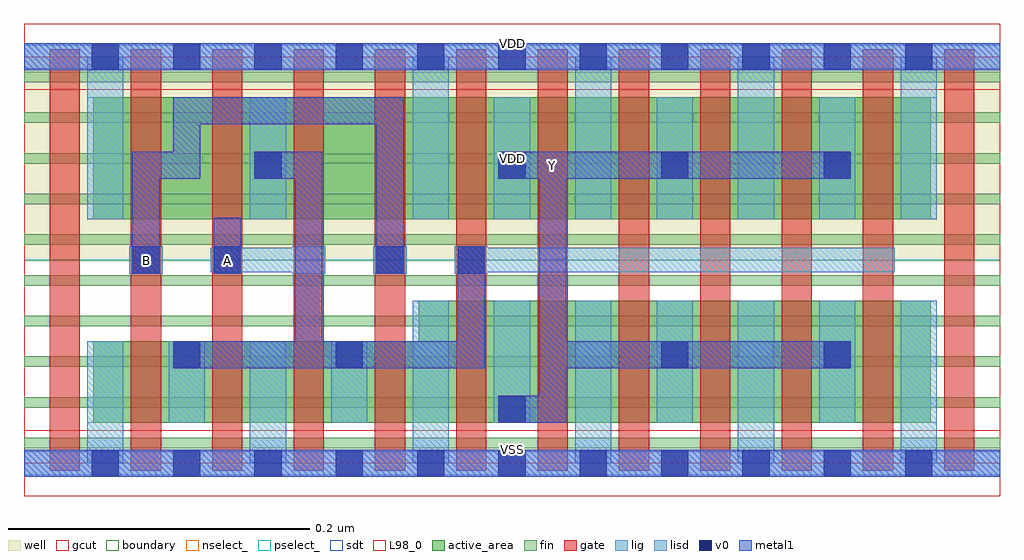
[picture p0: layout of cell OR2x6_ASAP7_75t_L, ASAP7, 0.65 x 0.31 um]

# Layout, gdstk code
import gdstk
lib = gdstk.Library(unit=1e-6, precision=2.5e-10)
def R(c, l, rs):  # rectangles x0, y0, x1, y1
    for r in rs: c.add(gdstk.rectangle(r[:2], r[2:], *l))
def A(c, l, x, y, w, h, nx, ny, dx, dy):  # array of equal rectangles
    R(c, l, [(x+i*dx, y+j*dy, x+i*dx+w, y+j*dy+h) for i in range(nx) for j in range(ny)])
def P(c, l, *ps):  # polygons
    for p in ps: c.add(gdstk.Polygon(p, *l))
well = (1, 0)
fin = (2, 0)
gate = (7, 0)
gcut = (10, 0)
active_area = (11, 0)
nselect_ = (12, 0)
pselect_ = (13, 0)
lig = (16, 0)
lisd = (17, 0)
v0 = (18, 0)
metal1 = (19, 0)
sdt = (88, 0)
L98_0 = (98, 0)
boundary = (100, 0)

or2x6_asap7_75t_l = lib.new_cell('OR2x6_ASAP7_75t_L')
R(or2x6_asap7_75t_l, well, [(0,0.135,0.648,0.27)])
A(or2x6_asap7_75t_l, fin, 0, 0.01, 0.648, 0.007, 1, 10, 0, 0.027)
A(or2x6_asap7_75t_l, gate, 0.017, -0.005, 0.02, 0.28, 12, 1, 0.054, 0)
R(or2x6_asap7_75t_l, gcut, [(0,-0.022,0.648,0.022), (0,0.248,0.648,0.292)])
R(or2x6_asap7_75t_l, active_area, [(0.046,0.162,0.602,0.243)])
P(or2x6_asap7_75t_l, active_area, [(0.262,0.081),(0.046,0.081),(0.046,0.027),(0.602,0.027),(0.602,0.108),(0.262,0.108)])
R(or2x6_asap7_75t_l, nselect_, [(0,0,0.648,0.135)])
R(or2x6_asap7_75t_l, pselect_, [(0,0.135,0.648,0.27)])
A(or2x6_asap7_75t_l, lig, 0.178, 0.126, 0.022, 0.018, 3, 1, 0.054, 0)
R(or2x6_asap7_75t_l, lig, [(0,-0.008,0.648,0.008), (0.07,0.126,0.092,0.144), (0.124,0.127,0.2,0.143), (0.286,0.127,0.578,0.143), (0,0.262,0.648,0.278)])
A(or2x6_asap7_75t_l, lisd, 0.312, 0.027, 0.024, 0.081, 3, 2, 0.108, 0.135)
R(or2x6_asap7_75t_l, lisd, [(0.042,0,0.066,0.081), (0.042,0,0.066,0.081), (0.15,0,0.174,0.081), (0.15,0,0.174,0.081), (0.258,0,0.282,0.108), (0.258,0,0.282,0.108), (0.366,0,0.39,0.108), (0.366,0,0.39,0.108), (0.474,0,0.498,0.108), (0.474,0,0.498,0.108), (0.582,0,0.606,0.108), (0.582,0,0.606,0.108), (0.096,0.027,0.12,0.081), (0.204,0.027,0.228,0.081), (0.042,0.162,0.066,0.27), (0.042,0.162,0.066,0.27), (0.15,0.162,0.174,0.243), (0.258,0.162,0.282,0.27), (0.258,0.162,0.282,0.27), (0.366,0.162,0.39,0.27), (0.366,0.162,0.39,0.27), (0.474,0.162,0.498,0.27), (0.474,0.162,0.498,0.27), (0.582,0.162,0.606,0.27), (0.582,0.162,0.606,0.27)])
A(or2x6_asap7_75t_l, v0, 0.045, -0.009, 0.018, 0.018, 11, 2, 0.054, 0.27)
A(or2x6_asap7_75t_l, v0, 0.315, 0.189, 0.018, 0.018, 3, 1, 0.108, 0)
R(or2x6_asap7_75t_l, v0, [(0.315,0.027,0.333,0.045), (0.099,0.063,0.117,0.081), (0.207,0.063,0.225,0.081), (0.423,0.063,0.441,0.081), (0.531,0.063,0.549,0.081), (0.072,0.126,0.09,0.144), (0.126,0.126,0.144,0.144), (0.234,0.126,0.252,0.144), (0.288,0.126,0.306,0.144), (0.153,0.189,0.171,0.207)])
A(or2x6_asap7_75t_l, metal1, 0.315, 0.189, 0.018, 0.018, 3, 1, 0.108, 0)
R(or2x6_asap7_75t_l, metal1, [(0,-0.009,0.648,0.009), (0.315,0.027,0.333,0.045), (0.099,0.063,0.117,0.081), (0.207,0.063,0.225,0.081), (0.423,0.063,0.441,0.081), (0.531,0.063,0.549,0.081), (0.072,0.126,0.09,0.144), (0.126,0.126,0.144,0.144), (0.126,0.126,0.144,0.163), (0.234,0.126,0.252,0.144), (0.288,0.126,0.306,0.144), (0.153,0.189,0.171,0.207), (0,0.261,0.648,0.279)])
P(or2x6_asap7_75t_l, metal1, [(0.252,0.126),(0.252,0.243),(0.099,0.243),(0.099,0.207),(0.072,0.207),(0.072,0.126),(0.09,0.126),(0.09,0.189),(0.117,0.189),(0.117,0.225),(0.234,0.225),(0.234,0.126)],
  [(0.288,0.144),(0.288,0.081),(0.198,0.081),(0.198,0.207),(0.153,0.207),(0.153,0.189),(0.18,0.189),(0.18,0.081),(0.099,0.081),(0.099,0.063),(0.306,0.063),(0.306,0.144)],
  [(0.549,0.207),(0.315,0.207),(0.315,0.189),(0.342,0.189),(0.342,0.045),(0.315,0.045),(0.315,0.027),(0.36,0.027),(0.36,0.063),(0.549,0.063),(0.549,0.081),(0.36,0.081),(0.36,0.189),(0.549,0.189)])
A(or2x6_asap7_75t_l, sdt, 0.042, 0.027, 0.024, 0.054, 3, 1, 0.054, 0)
A(or2x6_asap7_75t_l, sdt, 0.258, 0.027, 0.024, 0.081, 3, 2, 0.054, 0.135)
A(or2x6_asap7_75t_l, sdt, 0.366, 0.027, 0.024, 0.081, 3, 2, 0.054, 0.135)
A(or2x6_asap7_75t_l, sdt, 0.474, 0.027, 0.024, 0.081, 3, 2, 0.054, 0.135)
A(or2x6_asap7_75t_l, sdt, 0.042, 0.162, 0.024, 0.081, 3, 1, 0.108, 0)
R(or2x6_asap7_75t_l, sdt, [(0.042,0.027,0.066,0.081), (0.15,0.027,0.174,0.081), (0.204,0.027,0.228,0.081), (0.258,0.027,0.282,0.108), (0.582,0.027,0.606,0.108), (0.042,0.162,0.066,0.243), (0.582,0.162,0.606,0.243)])
R(or2x6_asap7_75t_l, L98_0, [(0,0,0.648,0.27)])
R(or2x6_asap7_75t_l, boundary, [(0,0,0.648,0.27)])
or2x6_asap7_75t_l.add(gdstk.Label('VDD', (0.324,0.2025), layer=1, texttype=251))
or2x6_asap7_75t_l.add(gdstk.Label('VSS', (0.324,-0.0675), layer=3, texttype=251))
or2x6_asap7_75t_l.add(gdstk.Label('VSS', (0.324,0.009), layer=19, texttype=251))
or2x6_asap7_75t_l.add(gdstk.Label('VDD', (0.324,0.279), layer=19, texttype=251))
or2x6_asap7_75t_l.add(gdstk.Label('B', (0.081,0.135), layer=19, texttype=251))
or2x6_asap7_75t_l.add(gdstk.Label('A', (0.135,0.135), layer=19, texttype=251))
or2x6_asap7_75t_l.add(gdstk.Label('Y', (0.351,0.198), layer=19, texttype=251))

lib.write_gds('OR2x6_ASAP7_75t_L.gds')
